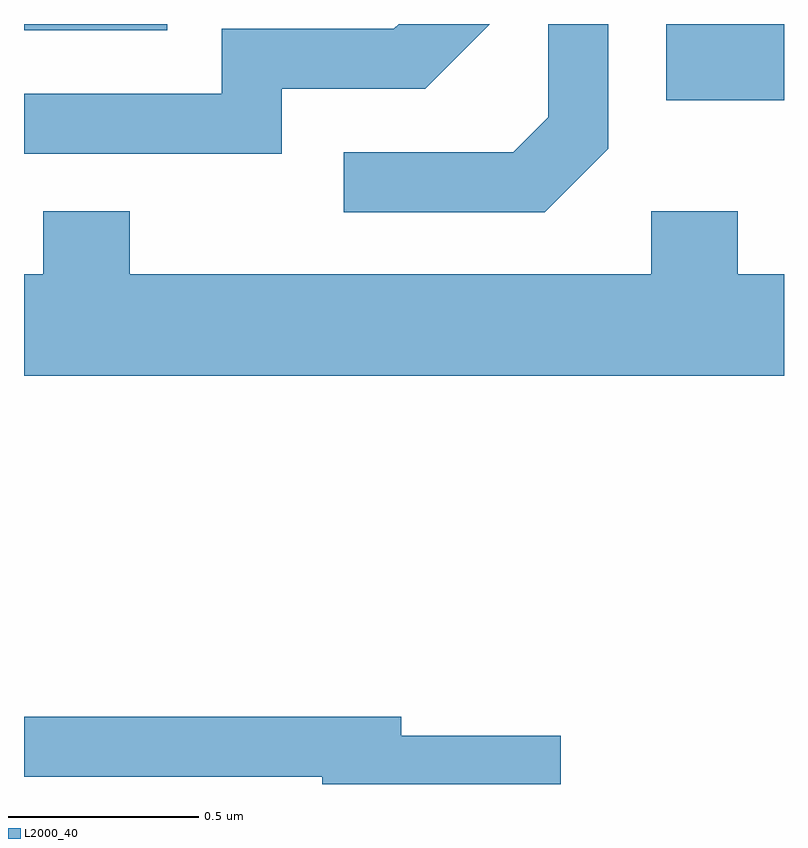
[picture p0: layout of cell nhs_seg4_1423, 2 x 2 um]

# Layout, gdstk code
import gdstk
lib = gdstk.Library(unit=1e-6, precision=1e-09)
def R(c, l, rs):  # rectangles x0, y0, x1, y1
    for r in rs: c.add(gdstk.rectangle(r[:2], r[2:], *l))
def P(c, l, *ps):  # polygons
    for p in ps: c.add(gdstk.Polygon(p, *l))
L2000_40 = (2000, 40)

nhs_seg4_1423 = lib.new_cell('nhs_seg4_1423')
R(nhs_seg4_1423, L2000_40, [(197.301,1308.781,197.611,1308.982), (195.611,1308.966,195.988,1308.982)])
P(nhs_seg4_1423, L2000_40, [(197.149,1308.654),(197.149,1308.982),(196.991,1308.982),(196.991,1308.737),(196.899,1308.644),(196.453,1308.644),(196.453,1308.486),(196.982,1308.486)],
  [(196.289,1308.811),(196.667,1308.811),(196.837,1308.982),(196.597,1308.982),(196.584,1308.969),(196.131,1308.969),(196.131,1308.799),(195.611,1308.799),(195.611,1308.641),(196.289,1308.641)],
  [(197.611,1308.324),(197.489,1308.324),(197.489,1308.489),(197.261,1308.489),(197.261,1308.324),(195.889,1308.324),(195.889,1308.489),(195.661,1308.489),(195.661,1308.324),(195.611,1308.324),(195.611,1308.056),(197.611,1308.056)],
  [(197.024,1307.109),(196.604,1307.109),(196.604,1307.159),(195.611,1307.159),(195.611,1307.001),(196.396,1307.001),(196.396,1306.982),(197.024,1306.982)])

lib.write_gds('nhs_seg4_1423.gds')
